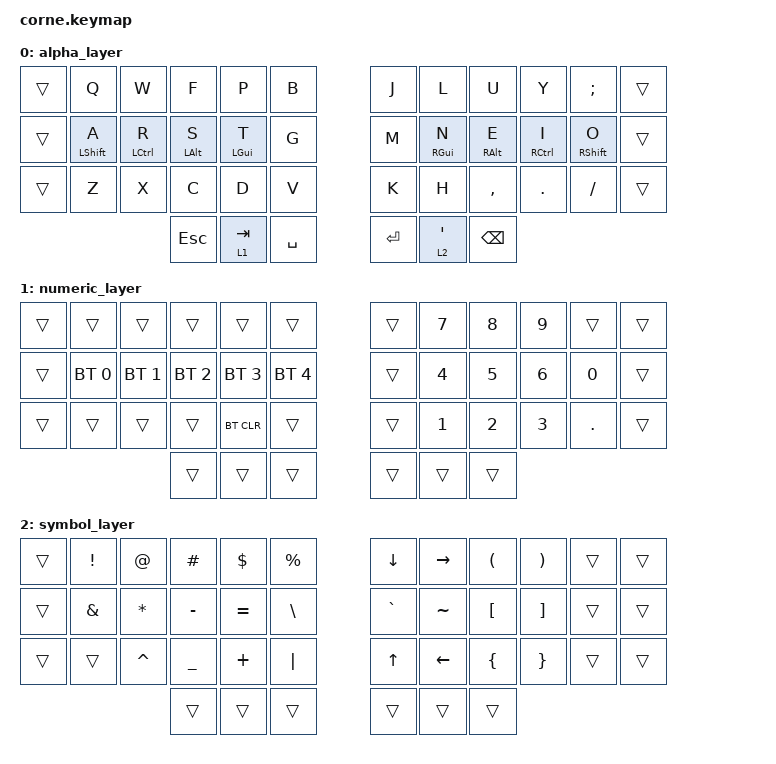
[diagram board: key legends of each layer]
/*
 * Copyright (c) 2020 The ZMK Contributors
 *
 * SPDX-License-Identifier: MIT
 */

#include <behaviors.dtsi>
#include <dt-bindings/zmk/bt.h>
#include <dt-bindings/zmk/keys.h>

&mt { tapping-term-ms = <300>; };

/ {
    keymap {
        compatible = "zmk,keymap";

        alpha_layer {
            // -----------------------------------------------------------------------------------------
            // |  TAB |  Q  |  W  |  E  |  R  |  T  |   |  Y  |  U   |  I  |  O  |  P  | BKSP |
            // | CTRL |  A  |  S  |  D  |  F  |  G  |   |  H  |  J   |  K  |  L  |  ;  |  '   |
            // | SHFT |  Z  |  X  |  C  |  V  |  B  |   |  N  |  M   |  ,  |  .  |  /  | ESC  |
            //                    | GUI | LWR | SPC |   | ENT | RSE  | ALT |

            bindings = <
&trans  &kp Q         &kp W               &kp F           &kp P       &kp B        &kp J       &kp L             &kp U          &kp Y                &kp SEMI      &trans
&trans  &mt LSHIFT A  &mt LEFT_CONTROL R  &mt LEFT_ALT S  &mt LGUI T  &kp G        &kp M       &mt RGUI N        &mt RALT E     &mt RIGHT_CONTROL I  &mt RSHIFT O  &trans
&trans  &kp Z         &kp X               &kp C           &kp D       &kp V        &kp K       &kp H             &kp COMMA      &kp DOT              &kp FSLH      &trans
                                          &kp ESC         &lt 1 TAB   &kp SPACE    &kp RETURN  &lt 2 APOSTROPHE  &kp BACKSPACE
            >;
        };

        numeric_layer {
            // -----------------------------------------------------------------------------------------
            // |  TAB |  !  |  @  |  #  |  $  |  %  |   |  ^  |  &  |  *  |  (  |  )  | BKSP |
            // | CTRL |     |     |     |     |     |   |  -  |  =  |  [  |  ]  |  \  |  `   |
            // | SHFT |     |     |     |     |     |   |  _  |  +  |  {  |  }  | "|" |  ~   |
            //                    | GUI |     | SPC |   | ENT |     | ALT |

            bindings = <
&trans  &trans        &trans        &trans        &trans        &trans          &trans  &kp N7  &kp N8  &kp N9  &trans      &trans
&trans  &bt BT_SEL 0  &bt BT_SEL 1  &bt BT_SEL 2  &bt BT_SEL 3  &bt BT_SEL 4    &trans  &kp N4  &kp N5  &kp N6  &kp N0      &trans
&trans  &trans        &trans        &trans        &bt BT_CLR    &trans          &trans  &kp N1  &kp N2  &kp N3  &kp PERIOD  &trans
                                    &trans        &trans        &trans          &trans  &trans  &trans
            >;
        };

        symbol_layer {
            // -----------------------------------------------------------------------------------------
            // |  TAB |  1  |  2  |  3  |  4  |  5  |   |  6  |  7  |  8  |  9  |  0  | BKSP |
            // | BTCLR| BT1 | BT2 | BT3 | BT4 | BT5 |   | LFT | DWN |  UP | RGT |     |      |
            // | SHFT |     |     |     |     |     |   |     |     |     |     |     |      |
            //                    | GUI |     | SPC |   | ENT |     | ALT |

            bindings = <
&trans  &kp EXCLAMATION  &kp AT_SIGN   &kp HASH        &kp DOLLAR  &kp PERCENT      &kp DOWN   &kp RIGHT  &kp LEFT_PARENTHESIS  &kp RIGHT_PARENTHESIS  &trans  &trans
&trans  &kp AMPERSAND    &kp ASTERISK  &kp MINUS       &kp EQUAL   &kp BACKSLASH    &kp GRAVE  &kp TILDE  &kp LBKT              &kp RBKT               &trans  &trans
&trans  &trans           &kp CARET     &kp UNDERSCORE  &kp PLUS    &kp PIPE         &kp UP     &kp LEFT   &kp LEFT_BRACE        &kp RIGHT_BRACE        &trans  &trans
                                       &trans          &trans      &trans           &trans     &trans     &trans
            >;
        };
    };

    conditional_layers { compatible = "zmk,conditional-layers"; };
};
